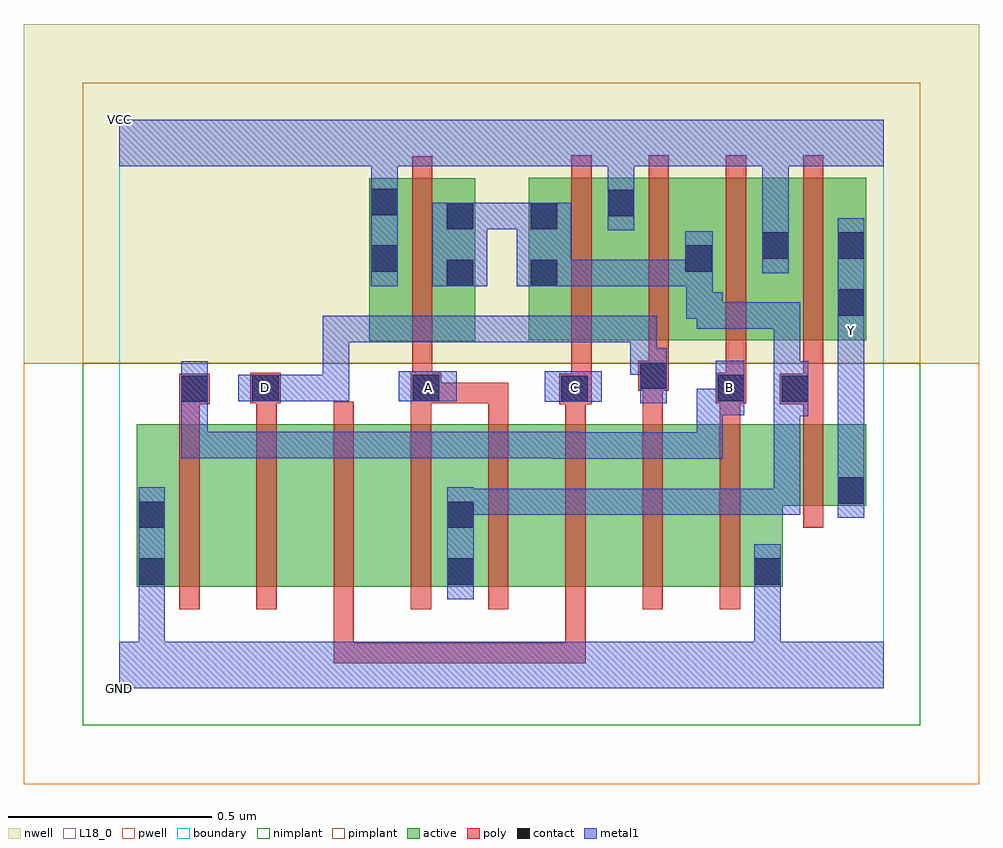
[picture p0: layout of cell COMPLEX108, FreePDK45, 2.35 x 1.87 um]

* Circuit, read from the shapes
.subckt COMPLEX108 A B C D GND VCC Y
M1 n1 B GND VSUBS nfet w=0.4u l=0.05u
M2 n2 D n1 VSUBS nfet w=0.4u l=0.05u
M3 n3 C n2 VSUBS nfet w=0.4u l=0.05u
M4 n4 A n3 VSUBS nfet w=0.4u l=0.05u
M5 n5 A n4 VSUBS nfet w=0.4u l=0.05u
M6 n6 C n5 VSUBS nfet w=0.4u l=0.05u
M7 n7 D n6 VSUBS nfet w=0.4u l=0.05u
M8 GND B n7 VSUBS nfet w=0.4u l=0.05u
M9 Y n4 GND VSUBS nfet w=0.2u l=0.05u
M10 n4 A VCC n8 pfet w=0.4u l=0.05u
M11 VCC C n4 n8 pfet w=0.4u l=0.05u
M12 n4 D VCC n8 pfet w=0.4u l=0.05u
M13 VCC B n4 n8 pfet w=0.4u l=0.05u
M14 Y n4 VCC n8 pfet w=0.4u l=0.05u
.ends

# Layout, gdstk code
import gdstk
lib = gdstk.Library(unit=1e-6, precision=1e-09)
def R(c, l, rs):  # rectangles x0, y0, x1, y1
    for r in rs: c.add(gdstk.rectangle(r[:2], r[2:], *l))
def A(c, l, x, y, w, h, nx, ny, dx, dy):  # array of equal rectangles
    R(c, l, [(x+i*dx, y+j*dy, x+i*dx+w, y+j*dy+h) for i in range(nx) for j in range(ny)])
active = (1, 0)
pwell = (2, 0)
nwell = (3, 0)
nimplant = (4, 0)
pimplant = (5, 0)
poly = (9, 0)
contact = (10, 0)
metal1 = (11, 0)
L18_0 = (18, 0)
boundary = (235, 0)

complex108 = lib.new_cell('COMPLEX108')
A(complex108, active, 1.007, 0.857, 0.265, 0.4, 3, 1, 0.19, 0)
R(complex108, active, [(0.042,0.25,0.267,0.65), (0.042,0.25,0.117,0.65), (0.267,0.25,0.457,0.65), (0.457,0.25,0.647,0.65), (0.647,0.25,0.877,0.65), (0.802,0.25,1.027,0.65), (0.802,0.25,0.877,0.617), (1.027,0.25,1.217,0.65), (1.217,0.25,1.407,0.65), (1.407,0.25,1.632,0.65), (1.557,0.25,1.632,0.532), (1.557,0.45,1.837,0.65), (1.762,0.45,1.837,0.65), (0.615,0.855,0.69,1.255), (0.615,0.855,0.875,1.255), (0.8,0.855,0.875,1.2), (1.007,0.857,1.082,1.2), (1.577,0.857,1.837,1.257), (1.762,0.857,1.837,1.2), (1.197,0.907,1.272,1.255), (1.387,0.907,1.462,1.2), (1.577,0.907,1.652,1.255)])
R(complex108, pwell, [(-0.235,-0.235,2.115,0.8)])
R(complex108, nwell, [(-0.235,0.8,2.115,1.635)])
R(complex108, nimplant, [(-0.09,-0.09,1.97,0.8)])
R(complex108, pimplant, [(-0.09,0.8,1.97,1.49)])
A(complex108, poly, 0.147, 0.195, 0.05, 0.51, 8, 1, 0.19, 0)
A(complex108, poly, 1.112, 0.802, 0.05, 0.51, 4, 1, 0.19, 0)
R(complex108, poly, [(0.527,0.062,0.577,0.245), (0.527,0.062,0.577,0.112), (0.527,0.062,0.577,0.112), (0.527,0.062,0.577,0.112), (0.527,0.062,0.792,0.112), (0.742,0.062,0.792,0.112), (0.742,0.062,0.925,0.112), (0.875,0.062,0.925,0.112), (0.875,0.062,0.925,0.112), (0.875,0.062,0.925,0.112), (0.875,0.062,1.147,0.112), (1.097,0.062,1.147,0.245), (1.097,0.062,1.147,0.112), (1.097,0.062,1.147,0.112), (1.097,0.062,1.147,0.112), (1.682,0.395,1.732,0.705), (0.147,0.655,0.197,0.75), (0.337,0.655,0.387,0.752), (0.717,0.655,0.767,0.752), (0.907,0.655,0.957,0.752), (1.097,0.655,1.147,0.75), (1.287,0.655,1.337,0.782), (1.477,0.655,1.527,0.752), (1.682,0.655,1.732,0.75), (0.147,0.7,0.222,0.775), (1.082,0.7,1.162,0.775), (1.625,0.7,1.732,0.775), (0.322,0.702,0.397,0.777), (0.717,0.702,0.792,0.777), (0.742,0.702,0.957,0.752), (0.907,0.702,0.957,0.752), (0.907,0.702,0.957,0.752), (0.907,0.702,0.957,0.752), (1.467,0.702,1.542,0.777), (1.112,0.725,1.162,0.852), (1.682,0.725,1.732,0.852), (0.72,0.727,0.77,0.85), (1.492,0.727,1.542,0.852), (1.277,0.732,1.352,0.807), (1.302,0.757,1.352,0.852), (0.72,0.8,0.77,1.31)])
R(complex108, contact, [(0.047,0.255,0.112,0.32), (0.807,0.255,0.872,0.32), (1.562,0.255,1.627,0.32), (0.047,0.395,0.112,0.46), (0.807,0.395,0.872,0.46), (1.767,0.455,1.832,0.52), (0.152,0.705,0.217,0.77), (1.087,0.705,1.152,0.77), (1.63,0.705,1.695,0.77), (0.327,0.707,0.392,0.772), (0.722,0.707,0.787,0.772), (1.472,0.707,1.537,0.772), (1.282,0.737,1.347,0.802), (1.767,0.917,1.832,0.982), (0.805,0.99,0.87,1.055), (1.012,0.99,1.077,1.055), (0.62,1.025,0.685,1.09), (1.392,1.025,1.457,1.09), (1.582,1.057,1.647,1.122), (1.767,1.057,1.832,1.122), (0.805,1.13,0.87,1.195), (1.012,1.13,1.077,1.195), (1.202,1.162,1.267,1.227), (0.62,1.165,0.685,1.23)])
R(complex108, metal1, [(0,0,1.88,0.115), (0.047,0.05,0.112,0.115), (0.047,0.05,0.112,0.115), (0.047,0.05,0.112,0.285), (1.562,0.05,1.627,0.285), (0.047,0.22,0.112,0.285), (0.047,0.22,0.112,0.285), (0.047,0.22,0.112,0.495), (0.807,0.22,0.872,0.495), (1.562,0.22,1.627,0.285), (1.562,0.22,1.627,0.285), (1.562,0.22,1.627,0.285), (1.562,0.22,1.627,0.285), (1.562,0.22,1.627,0.355), (1.767,0.42,1.832,0.555), (0.807,0.427,0.872,0.492), (0.807,0.427,0.872,0.492), (0.807,0.427,1.042,0.492), (0.977,0.427,1.042,0.492), (0.977,0.427,1.042,0.492), (0.977,0.427,1.042,0.492), (0.977,0.427,1.32,0.492), (1.255,0.427,1.32,0.492), (1.255,0.427,1.325,0.492), (1.26,0.427,1.325,0.492), (1.26,0.427,1.49,0.492), (1.425,0.427,1.49,0.492), (1.425,0.427,1.49,0.492), (1.425,0.427,1.49,0.492), (1.425,0.427,1.675,0.492), (1.61,0.427,1.675,0.492), (1.61,0.427,1.675,0.492), (1.61,0.427,1.675,0.492), (1.61,0.427,1.675,0.735), (1.767,0.49,1.832,0.877), (1.065,0.565,1.32,0.63), (1.065,0.565,1.13,0.632), (1.255,0.565,1.32,0.63), (1.255,0.565,1.325,0.63), (1.26,0.565,1.325,0.63), (1.26,0.565,1.485,0.63), (1.42,0.565,1.485,0.63), (1.42,0.565,1.485,0.737), (0.152,0.567,0.217,0.632), (0.152,0.567,0.355,0.632), (0.152,0.567,0.217,0.735), (0.29,0.567,0.355,0.632), (0.29,0.567,0.355,0.632), (0.29,0.567,0.355,0.632), (0.29,0.567,0.565,0.632), (0.5,0.567,0.565,0.632), (0.5,0.567,0.565,0.632), (0.5,0.567,0.565,0.632), (0.5,0.567,0.702,0.632), (0.637,0.567,0.702,0.632), (0.637,0.567,0.905,0.632), (0.84,0.567,0.905,0.632), (0.84,0.567,0.905,0.632), (0.84,0.567,0.905,0.632), (0.84,0.567,1.13,0.632), (1.065,0.567,1.13,0.632), (1.065,0.567,1.13,0.632), (0.152,0.67,0.217,0.735), (0.152,0.67,0.217,0.735), (0.152,0.67,0.217,0.805), (1.61,0.67,1.675,0.735), (1.61,0.67,1.695,0.735), (1.61,0.67,1.675,0.95), (1.63,0.67,1.695,0.805), (1.42,0.672,1.485,0.737), (1.42,0.672,1.532,0.737), (1.467,0.672,1.537,0.807), (1.282,0.702,1.347,0.837), (1.047,0.705,1.187,0.78), (0.292,0.707,0.427,0.772), (0.362,0.707,0.427,0.772), (0.362,0.707,0.427,0.772), (0.362,0.707,0.565,0.772), (0.5,0.707,0.565,0.772), (0.5,0.707,0.565,0.772), (0.5,0.707,0.565,0.772), (0.5,0.707,0.565,0.917), (0.687,0.707,0.83,0.78), (1.257,0.772,1.322,0.837), (1.257,0.772,1.347,0.837), (1.257,0.772,1.322,0.917), (1.767,0.812,1.832,0.947), (0.5,0.852,0.565,0.917), (0.5,0.852,0.702,0.917), (0.637,0.852,0.702,0.917), (0.637,0.852,0.84,0.917), (0.775,0.852,0.84,0.917), (0.775,0.852,0.84,0.917), (0.775,0.852,0.84,0.917), (0.775,0.852,1.13,0.917), (1.065,0.852,1.13,0.917), (1.065,0.852,1.13,0.917), (1.065,0.852,1.13,0.917), (1.065,0.852,1.322,0.917), (1.257,0.852,1.322,0.917), (1.767,0.882,1.832,0.947), (1.767,0.882,1.832,1.157), (1.42,0.885,1.675,0.95), (1.42,0.885,1.485,0.975), (1.61,0.885,1.675,0.95), (1.395,0.91,1.46,0.975), (1.395,0.91,1.485,0.975), (1.395,0.91,1.46,1.055), (0.62,0.99,0.685,1.265), (0.77,0.99,0.905,1.195), (0.977,0.99,1.112,1.195), (1.047,0.99,1.112,1.055), (1.047,0.99,1.112,1.055), (1.047,0.99,1.32,1.055), (1.255,0.99,1.32,1.055), (1.255,0.99,1.325,1.055), (1.26,0.99,1.325,1.055), (1.26,0.99,1.457,1.055), (1.392,0.99,1.46,1.125), (1.582,1.022,1.647,1.157), (1.582,1.092,1.647,1.35), (1.202,1.127,1.267,1.262), (0.84,1.13,0.905,1.195), (0.84,1.13,0.905,1.195), (0.84,1.13,1.042,1.195), (1.202,1.197,1.267,1.35), (0.62,1.2,0.685,1.35), (0,1.285,1.88,1.4)])
R(complex108, L18_0, [(0,0,1.88,0.115), (0.047,0.05,0.112,0.115), (0.047,0.05,0.112,0.115), (0.047,0.05,0.112,0.285), (1.562,0.05,1.627,0.285), (0.047,0.22,0.112,0.285), (0.047,0.22,0.112,0.285), (0.047,0.22,0.112,0.495), (1.562,0.22,1.627,0.285), (1.562,0.22,1.627,0.285), (1.562,0.22,1.627,0.285), (1.562,0.22,1.627,0.285), (1.562,0.22,1.627,0.355), (1.767,0.42,1.832,0.555), (1.767,0.49,1.832,0.877), (1.065,0.565,1.13,0.632), (1.065,0.565,1.32,0.63), (1.255,0.565,1.32,0.63), (1.255,0.565,1.325,0.63), (1.26,0.565,1.325,0.63), (1.26,0.565,1.485,0.63), (1.42,0.565,1.485,0.63), (1.42,0.565,1.485,0.737), (0.152,0.567,0.217,0.632), (0.152,0.567,0.217,0.735), (0.152,0.567,0.355,0.632), (0.29,0.567,0.355,0.632), (0.29,0.567,0.355,0.632), (0.29,0.567,0.355,0.632), (0.29,0.567,0.565,0.632), (0.5,0.567,0.565,0.632), (0.5,0.567,0.565,0.632), (0.5,0.567,0.565,0.632), (0.5,0.567,0.702,0.632), (0.637,0.567,0.702,0.632), (0.637,0.567,0.905,0.632), (0.84,0.567,0.905,0.632), (0.84,0.567,0.905,0.632), (0.84,0.567,0.905,0.632), (0.84,0.567,1.13,0.632), (1.065,0.567,1.13,0.632), (1.065,0.567,1.13,0.632), (0.152,0.67,0.217,0.735), (0.152,0.67,0.217,0.735), (0.152,0.67,0.217,0.805), (1.42,0.672,1.485,0.737), (1.42,0.672,1.532,0.737), (1.467,0.672,1.537,0.807), (1.282,0.702,1.347,0.837), (1.047,0.705,1.187,0.78), (0.292,0.707,0.427,0.772), (0.327,0.707,0.392,0.772), (0.362,0.707,0.427,0.772), (0.362,0.707,0.427,0.772), (0.362,0.707,0.565,0.772), (0.5,0.707,0.565,0.772), (0.5,0.707,0.565,0.772), (0.5,0.707,0.565,0.772), (0.5,0.707,0.565,0.917), (0.687,0.707,0.83,0.78), (0.727,0.707,0.792,0.772), (1.087,0.707,1.152,0.772), (1.467,0.707,1.532,0.772), (1.257,0.772,1.322,0.837), (1.257,0.772,1.322,0.917), (1.257,0.772,1.347,0.837), (1.767,0.812,1.832,0.947), (1.767,0.847,1.832,0.912), (0.5,0.852,0.565,0.917), (0.5,0.852,0.702,0.917), (0.637,0.852,0.702,0.917), (0.637,0.852,0.84,0.917), (0.775,0.852,0.84,0.917), (0.775,0.852,0.84,0.917), (0.775,0.852,0.84,0.917), (0.775,0.852,1.13,0.917), (1.065,0.852,1.13,0.917), (1.065,0.852,1.13,0.917), (1.065,0.852,1.13,0.917), (1.065,0.852,1.322,0.917), (1.257,0.852,1.322,0.917), (1.767,0.882,1.832,0.947), (1.767,0.882,1.832,1.157), (0.62,0.99,0.685,1.265), (1.582,1.022,1.647,1.157), (1.582,1.092,1.647,1.35), (1.202,1.127,1.267,1.262), (1.202,1.197,1.267,1.35), (0.62,1.2,0.685,1.35), (0,1.285,1.88,1.4)])
R(complex108, boundary, [(0,0,1.88,1.4)])
complex108.add(gdstk.Label('A', (0.76,0.74), layer=11, texttype=0))
complex108.add(gdstk.Label('B', (1.5,0.74), layer=11, texttype=0))
complex108.add(gdstk.Label('C', (1.12,0.74), layer=11, texttype=0))
complex108.add(gdstk.Label('D', (0.36,0.74), layer=11, texttype=0))
complex108.add(gdstk.Label('Y', (1.8,0.88), layer=11, texttype=0))
complex108.add(gdstk.Label('VCC', (0,1.4), layer=11, texttype=0))
complex108.add(gdstk.Label('GND', (0,0), layer=11, texttype=0))

lib.write_gds('COMPLEX108.gds')
